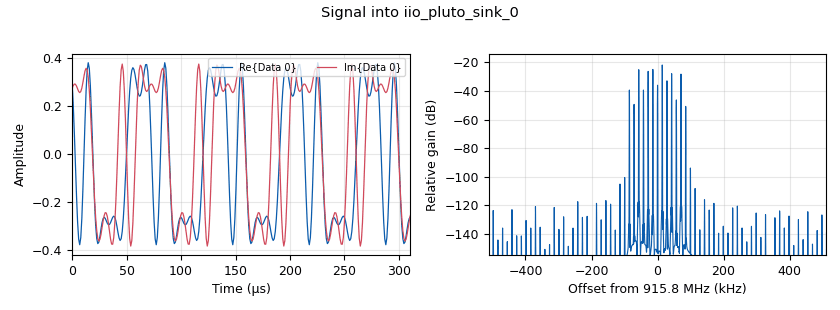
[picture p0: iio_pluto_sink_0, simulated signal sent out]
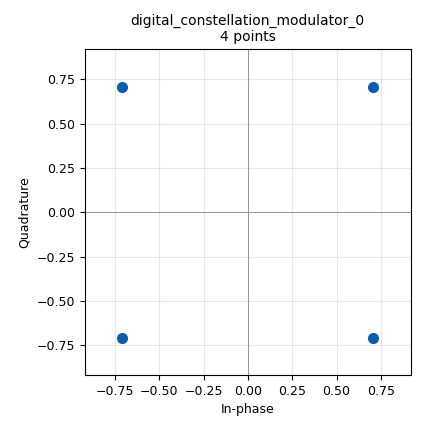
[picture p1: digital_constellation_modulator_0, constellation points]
options:
  parameters:
    author: aitmoran
    generate_options: qt_gui
    id: QAM4_TX
    output_language: python
    title: Not titled yet
  states: {}

blocks:
- name: carrier_freq
  id: variable
  parameters:
    value: int(915.8e6)
  states: {}
- name: constellation
  id: variable_constellation
  parameters:
    const_points: '[-1-1j, -1+1j, 1+1j, 1-1j]'
    dims: '1'
    normalization: digital.constellation.AMPLITUDE_NORMALIZATION
    precision: '8'
    rot_sym: '4'
    sym_map: '[0,1,2,3]'
    type: calcdist
  states: {}
- name: excess_bw
  id: variable
  parameters:
    value: '0.50'
  states: {}
- name: samp_per_sym
  id: variable
  parameters:
    value: '8'
  states: {}
- name: samp_rate
  id: variable
  parameters:
    value: '1024000'
  states: {}
- name: tx_attenuation
  id: variable_qtgui_range
  parameters:
    gui_hint: 3,0
    start: '0'
    step: '1'
    stop: '89'
    value: '0'
  states: {}
- name: blocks_multiply_const_vxx_0
  id: blocks_multiply_const_vxx
  parameters:
    const: '0.4'
    type: complex
  states: {}
- name: blocks_unpacked_to_packed_xx_0_0
  id: blocks_unpacked_to_packed_xx
  parameters:
    bits_per_chunk: constellation.bits_per_symbol()
    endianness: gr.GR_MSB_FIRST
    type: byte
  states: {}
- name: blocks_vector_source_x_0
  id: blocks_vector_source_x
  parameters:
    repeat: 'True'
    type: byte
    vector: '[0,1, 2, 3, 0, 3, 1, 2, 0]'
  states: {}
- name: digital_constellation_modulator_0
  id: digital_constellation_modulator
  parameters:
    constellation: constellation
    differential: 'True'
    excess_bw: excess_bw
    samples_per_symbol: samp_per_sym
  states: {}
- name: iio_pluto_sink_0
  id: iio_pluto_sink
  parameters:
    attenuation1: tx_attenuation
    bandwidth: '20000000'
    buffer_size: '32768'
    cyclic: 'False'
    filter_source: '''Auto'''
    frequency: carrier_freq
    samplerate: samp_rate
    type: fc32
    uri: 192.168.2.1
  states: {}

connections:
- [blocks_multiply_const_vxx_0, '0', iio_pluto_sink_0, '0']
- [blocks_unpacked_to_packed_xx_0_0, '0', digital_constellation_modulator_0, '0']
- [blocks_vector_source_x_0, '0', blocks_unpacked_to_packed_xx_0_0, '0']
- [digital_constellation_modulator_0, '0', blocks_multiply_const_vxx_0, '0']

metadata:
  file_format: 1
  grc_version: 3.10.7.0
